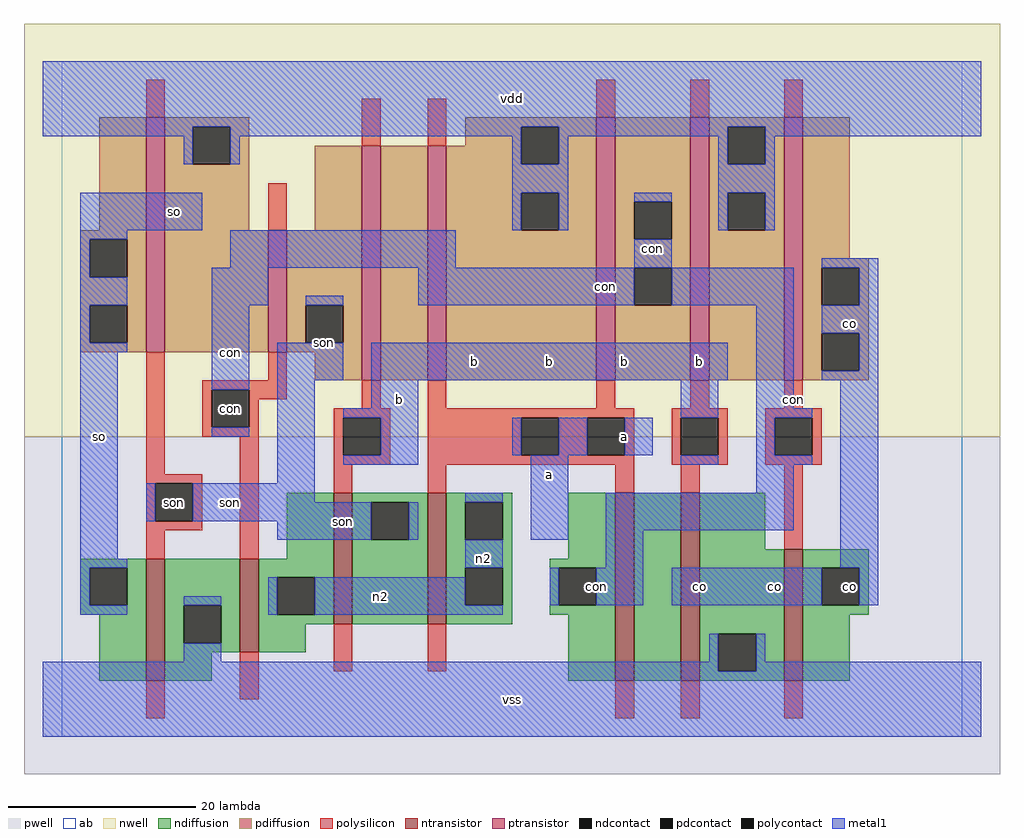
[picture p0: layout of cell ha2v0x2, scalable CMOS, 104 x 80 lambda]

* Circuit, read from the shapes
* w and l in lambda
.subckt ha2v0x2 a b co con n2 so son vdd vss
M1 vss son so VSUBS nfet w=13 l=2
M2 n2 con vss VSUBS nfet w=10 l=2
M3 son b n2 VSUBS nfet w=14 l=2
M4 n2 a son VSUBS nfet w=14 l=2
M5 n1 a con VSUBS nfet w=20 l=2
M6 vss b n1 VSUBS nfet w=20 l=2
M7 co con vss VSUBS nfet w=14 l=2
M8 vdd son so n3 pfet w=25 l=2
M9 son con vdd n3 pfet w=13 l=2
M10 n4 b son n3 pfet w=25 l=2
M11 vdd a n4 n3 pfet w=25 l=2
M12 con a vdd n3 pfet w=28 l=2
M13 vdd b con n3 pfet w=28 l=2
M14 co con vdd n3 pfet w=28 l=2
.ends

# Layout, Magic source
magic
tech scmos
<< ab >>
rect 0 0 96 72
<< pwell >>
rect -4 -4 100 32
<< nwell >>
rect -4 32 100 76
<< polysilicon >>
rect 9 66 11 70
rect 32 63 34 68
rect 39 63 41 68
rect 57 66 59 70
rect 67 66 69 70
rect 77 66 79 70
rect 22 54 24 59
rect 9 28 11 41
rect 22 38 24 41
rect 15 37 24 38
rect 15 33 16 37
rect 20 36 24 37
rect 20 33 21 36
rect 32 35 34 38
rect 39 35 41 38
rect 57 35 59 38
rect 67 35 69 38
rect 77 35 79 38
rect 15 32 21 33
rect 9 27 15 28
rect 9 23 10 27
rect 14 23 15 27
rect 9 22 15 23
rect 9 19 11 22
rect 19 19 21 32
rect 29 34 35 35
rect 29 30 30 34
rect 34 30 35 34
rect 29 29 35 30
rect 39 34 61 35
rect 39 30 49 34
rect 53 30 56 34
rect 60 30 61 34
rect 39 29 61 30
rect 65 34 71 35
rect 65 30 66 34
rect 70 30 71 34
rect 65 29 71 30
rect 75 34 81 35
rect 75 30 76 34
rect 80 30 81 34
rect 75 29 81 30
rect 29 26 31 29
rect 39 26 41 29
rect 59 26 61 29
rect 66 26 68 29
rect 9 2 11 6
rect 19 4 21 9
rect 29 7 31 12
rect 39 7 41 12
rect 77 20 79 29
rect 59 2 61 6
rect 66 2 68 6
rect 77 2 79 6
<< ndiffusion >>
rect 24 19 29 26
rect 2 18 9 19
rect 2 14 3 18
rect 7 14 9 18
rect 2 13 9 14
rect 4 6 9 13
rect 11 14 19 19
rect 11 10 13 14
rect 17 10 19 14
rect 11 9 19 10
rect 21 17 29 19
rect 21 13 23 17
rect 27 13 29 17
rect 21 12 29 13
rect 31 25 39 26
rect 31 21 33 25
rect 37 21 39 25
rect 31 12 39 21
rect 41 25 48 26
rect 41 21 43 25
rect 47 21 48 25
rect 41 18 48 21
rect 54 19 59 26
rect 41 14 43 18
rect 47 14 48 18
rect 41 12 48 14
rect 52 18 59 19
rect 52 14 53 18
rect 57 14 59 18
rect 52 13 59 14
rect 21 9 26 12
rect 11 6 16 9
rect 54 6 59 13
rect 61 6 66 26
rect 68 20 75 26
rect 68 11 77 20
rect 68 7 70 11
rect 74 7 77 11
rect 68 6 77 7
rect 79 18 86 20
rect 79 14 81 18
rect 85 14 86 18
rect 79 13 86 14
rect 79 6 84 13
<< pdiffusion >>
rect 4 54 9 66
rect 2 53 9 54
rect 2 49 3 53
rect 7 49 9 53
rect 2 46 9 49
rect 2 42 3 46
rect 7 42 9 46
rect 2 41 9 42
rect 11 65 20 66
rect 11 61 14 65
rect 18 61 20 65
rect 43 65 57 66
rect 43 63 49 65
rect 11 54 20 61
rect 27 54 32 63
rect 11 41 22 54
rect 24 46 32 54
rect 24 42 26 46
rect 30 42 32 46
rect 24 41 32 42
rect 27 38 32 41
rect 34 38 39 63
rect 41 61 49 63
rect 53 61 57 65
rect 41 58 57 61
rect 41 54 49 58
rect 53 54 57 58
rect 41 38 57 54
rect 59 57 67 66
rect 59 53 61 57
rect 65 53 67 57
rect 59 50 67 53
rect 59 46 61 50
rect 65 46 67 50
rect 59 38 67 46
rect 69 65 77 66
rect 69 61 71 65
rect 75 61 77 65
rect 69 58 77 61
rect 69 54 71 58
rect 75 54 77 58
rect 69 38 77 54
rect 79 51 84 66
rect 79 50 86 51
rect 79 46 81 50
rect 85 46 86 50
rect 79 43 86 46
rect 79 39 81 43
rect 85 39 86 43
rect 79 38 86 39
<< metal1 >>
rect -2 65 98 72
rect -2 64 14 65
rect 13 61 14 64
rect 18 64 49 65
rect 18 61 19 64
rect 48 61 49 64
rect 53 64 71 65
rect 53 61 54 64
rect 48 58 54 61
rect 70 61 71 64
rect 75 64 98 65
rect 75 61 76 64
rect 70 58 76 61
rect 2 54 15 58
rect 48 54 49 58
rect 53 54 54 58
rect 61 57 65 58
rect 2 53 7 54
rect 2 49 3 53
rect 18 50 42 54
rect 70 54 71 58
rect 75 54 76 58
rect 61 50 65 53
rect 81 50 87 51
rect 2 46 7 49
rect 2 42 3 46
rect 2 41 7 42
rect 16 46 22 50
rect 26 46 30 47
rect 38 46 61 50
rect 65 46 78 50
rect 2 19 6 41
rect 16 37 20 46
rect 16 32 20 33
rect 23 38 30 42
rect 33 38 71 42
rect 23 27 27 38
rect 33 35 38 38
rect 30 34 38 35
rect 66 34 70 38
rect 34 30 38 34
rect 48 30 49 34
rect 53 30 56 34
rect 60 30 63 34
rect 30 29 38 30
rect 9 23 10 27
rect 14 25 27 27
rect 43 25 47 26
rect 14 23 33 25
rect 23 21 33 23
rect 37 21 38 25
rect 50 21 54 30
rect 66 29 70 30
rect 74 35 78 46
rect 85 46 87 50
rect 81 43 87 46
rect 85 39 87 43
rect 81 38 87 39
rect 74 34 80 35
rect 74 30 76 34
rect 74 29 80 30
rect 74 26 78 29
rect 58 22 78 26
rect 2 18 7 19
rect 2 14 3 18
rect 43 18 47 21
rect 58 18 62 22
rect 83 18 87 38
rect 2 13 7 14
rect 13 14 17 15
rect 22 13 23 17
rect 27 14 43 17
rect 52 14 53 18
rect 57 14 62 18
rect 65 14 81 18
rect 85 14 87 18
rect 27 13 47 14
rect 13 8 17 10
rect 69 8 70 11
rect -2 7 70 8
rect 74 8 75 11
rect 74 7 98 8
rect -2 0 98 7
<< ntransistor >>
rect 9 6 11 19
rect 19 9 21 19
rect 29 12 31 26
rect 39 12 41 26
rect 59 6 61 26
rect 66 6 68 26
rect 77 6 79 20
<< ptransistor >>
rect 9 41 11 66
rect 22 41 24 54
rect 32 38 34 63
rect 39 38 41 63
rect 57 38 59 66
rect 67 38 69 66
rect 77 38 79 66
<< polycontact >>
rect 16 33 20 37
rect 10 23 14 27
rect 30 30 34 34
rect 49 30 53 34
rect 56 30 60 34
rect 66 30 70 34
rect 76 30 80 34
<< ndcontact >>
rect 3 14 7 18
rect 13 10 17 14
rect 23 13 27 17
rect 33 21 37 25
rect 43 21 47 25
rect 43 14 47 18
rect 53 14 57 18
rect 70 7 74 11
rect 81 14 85 18
<< pdcontact >>
rect 3 49 7 53
rect 3 42 7 46
rect 14 61 18 65
rect 26 42 30 46
rect 49 61 53 65
rect 49 54 53 58
rect 61 53 65 57
rect 61 46 65 50
rect 71 61 75 65
rect 71 54 75 58
rect 81 46 85 50
rect 81 39 85 43
<< labels >>
rlabel polycontact 12 25 12 25 6 son
rlabel polycontact 18 35 18 35 6 con
rlabel polysilicon 78 36 78 36 6 con
rlabel metal1 4 32 4 32 6 so
rlabel metal1 12 56 12 56 6 so
rlabel metal1 18 25 18 25 6 son
rlabel metal1 28 42 28 42 6 son
rlabel metal1 18 41 18 41 6 con
rlabel metal1 48 4 48 4 6 vss
rlabel metal1 45 19 45 19 6 n2
rlabel metal1 34 15 34 15 6 n2
rlabel metal1 30 23 30 23 6 son
rlabel metal1 52 28 52 28 6 a
rlabel metal1 36 36 36 36 6 b
rlabel metal1 52 40 52 40 6 b
rlabel metal1 44 40 44 40 6 b
rlabel metal1 48 68 48 68 6 vdd
rlabel metal1 68 16 68 16 6 co
rlabel metal1 76 16 76 16 6 co
rlabel metal1 57 16 57 16 6 con
rlabel metal1 60 32 60 32 6 a
rlabel metal1 60 40 60 40 6 b
rlabel metal1 68 40 68 40 6 b
rlabel metal1 76 36 76 36 6 con
rlabel metal1 58 48 58 48 6 con
rlabel metal1 63 52 63 52 6 con
rlabel ndcontact 84 16 84 16 6 co
rlabel metal1 84 44 84 44 6 co
<< end >>
